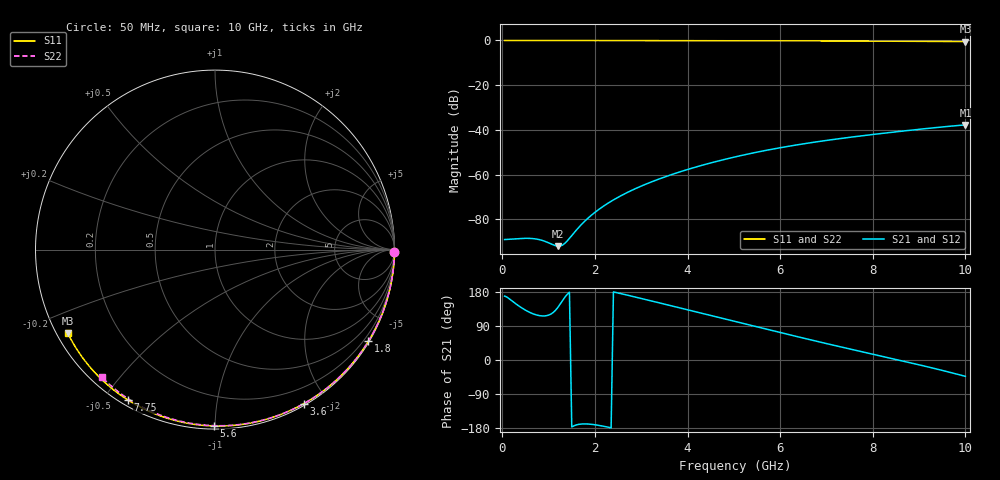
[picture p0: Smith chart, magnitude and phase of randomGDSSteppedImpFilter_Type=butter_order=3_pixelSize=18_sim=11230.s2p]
! freq	dB(S11)	phase(S11)	dB(S12)	phase(S12)
!  dB(S21)	phase(S21)	dB(S22)	phase(S22)
!S-par simulation data
#  GHz  S  DB  R 50
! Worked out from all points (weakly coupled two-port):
!   200 points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, 50 MHz to 10 GHz, reference 50 ohm
!   highest |S21| = -37.76 dB at 10 GHz (marker M1); lowest = -92.0 dB at 1.2 GHz (marker M2)
!   lowest |S11| = -0.5 dB at 10 GHz (marker M3), VSWR 34.40, Z = 1.56 - j13.2 ohm
!   |S11| at or under -10 dB: nowhere
!   |S22| runs from -0.4 to 0.0 dB; largest |S21 - S12| = 0
!   S11 on the Smith chart (normalised r, x): 50 MHz: open; 1.8 GHz: 0.03, -3.62; 3.6 GHz: 0.02, -1.73; 5.6 GHz: 0.02, -1.00; 7.75 GHz: 0.02, -0.58; 10 GHz: 0.03, -0.26
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0.05  -0.00 -0.9  -89.02 168.6  -89.02 168.6  -0.00 -0.8
0.6  -0.01 -10.4  -88.49 125.2  -88.49 125.2  -0.01 -9.1
1.2  -0.03 -20.7  -91.98 138.7  -91.98 138.7  -0.02 -18.1
1.75  -0.04 -30.0  -81.43 -168.7  -81.43 -168.7  -0.03 -26.3
1.8  -0.04 -30.8  -80.42 -168.6  -80.42 -168.6  -0.03 -27.0
1.85  -0.04 -31.7  -79.47 -168.9  -79.47 -168.9  -0.04 -27.7
2  -0.04 -34.2  -76.86 -170.9  -76.86 -170.9  -0.04 -29.9
2.15  -0.05 -36.7  -74.58 -174.0  -74.58 -174.0  -0.04 -32.1
2.5  -0.05 -42.5  -70.12 176.9  -70.12 176.9  -0.05 -37.2
2.9  -0.06 -49.0  -66.02 165.3  -66.02 165.3  -0.06 -42.9
3.4  -0.08 -57.0  -61.83 150.5  -61.83 150.5  -0.07 -50.0
3.6  -0.08 -60.1  -60.36 144.5  -60.36 144.5  -0.07 -52.8
4.3  -0.10 -71.0  -55.88 123.6  -55.88 123.6  -0.09 -62.4
5.05  -0.13 -82.2  -51.96 101.1  -51.96 101.1  -0.11 -72.4
5.6  -0.15 -90.2  -49.53 84.6  -49.53 84.6  -0.13 -79.5
6.15  -0.18 -98.1  -47.42 68.1  -47.42 68.1  -0.15 -86.4
6.7  -0.21 -105.8  -45.60 52.0  -45.60 52.0  -0.18 -93.2
7.2  -0.24 -112.7  -44.13 37.6  -44.13 37.6  -0.21 -99.3
7.75  -0.28 -120.1  -42.67 22.2  -42.67 22.2  -0.24 -105.9
8.35  -0.33 -128.2  -41.20 5.6  -41.20 5.6  -0.28 -112.9
9.2  -0.41 -139.6  -39.29 -18.5  -39.29 -18.5  -0.36 -122.7
10  -0.51 -150.3  -37.76 -43.2  -37.76 -43.2  -0.45 -131.7
